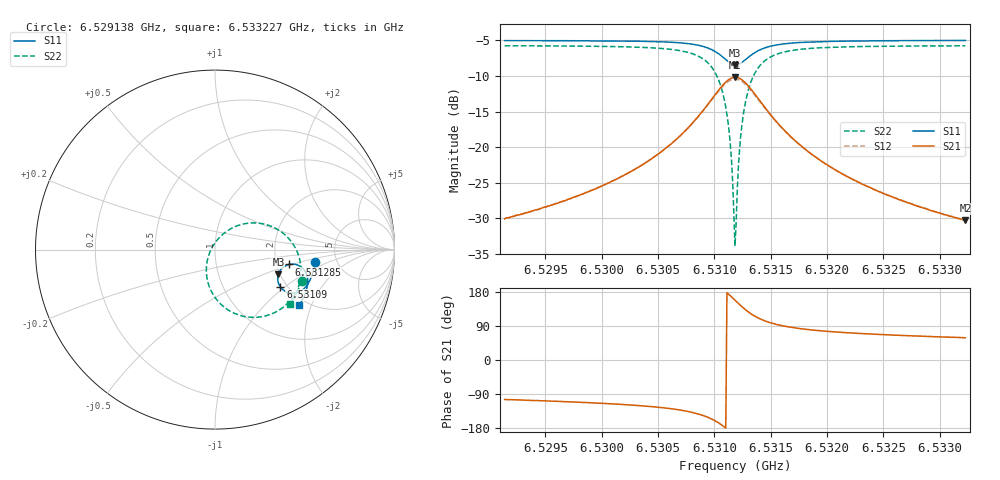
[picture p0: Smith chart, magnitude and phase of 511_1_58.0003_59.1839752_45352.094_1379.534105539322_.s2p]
#  HZ  S  RI  R  50.00
! Rohde & Schwarz Vector Network Analyzer
! Rohde-Schwarz,ZNB20-2Port,1311601062101988,3.16
! Created: UTC 3/21/2024, 1:13:11 AM
! freq[Hz]  re:S11  im:S11  re:S21  im:S21  re:S12  im:S12  re:S22  im:S22
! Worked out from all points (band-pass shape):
!   401 points, 6.529138 GHz to 6.533227 GHz, reference 50 ohm
!   highest |S21| = -10.18 dB at 6.531182 GHz (marker M1); lowest = -30.3 dB at 6.533227 GHz (marker M2)
!   |S21| within 3 dB of the highest: 6.530979 GHz to 6.531388 GHz (408.9 kHz wide, 0.00626 % of centre)
!   lowest |S11| = -8.4 dB at 6.531182 GHz (marker M3), VSWR 2.22, Z = 97.9 - j31.4 ohm
!   |S11| at or under -10 dB: nowhere
!   |S22| runs from -33.9 to -5.7 dB; largest |S21 - S12| = 0.012
!   S11 on the Smith chart (normalised r, x): 6.529138 GHz: 3.40, -0.69; 6.53109 GHz: 1.84, -0.93; 6.531285 GHz: 2.32, -0.47; 6.533227 GHz: 1.82, -1.64
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6.5291375e9  0.5566 -0.0692  -0.00763 -0.0304  -0.00832 -0.0303  0.4865 -0.1732
6.5298226e9  0.5454 -0.1261  -0.0173 -0.0433  -0.0184 -0.0429  0.4552 -0.2369
6.5305076e9  0.5161 -0.1941  -0.0517 -0.0738  -0.0537 -0.0727  0.373 -0.3267
6.5307427e9  0.4885 -0.2236  -0.0916 -0.0932  -0.0946 -0.0901  0.2915 -0.3666
6.5309166e9  0.4443 -0.2421  -0.1605 -0.0992  -0.1627 -0.0927  0.1647 -0.3728
6.5310188e9  0.3991 -0.236  -0.2302 -0.0719  -0.2294 -0.0625  0.0464 -0.3165
6.5310904e9  0.3644 -0.208  -0.2815 -0.0126  -0.2756 -0.00276  -0.031 -0.2083
6.5311313e9  0.3516 -0.1796  -0.2973 0.041  -0.2882 0.0487  -0.0484 -0.1168
6.5311415e9  0.3501 -0.1713  -0.2982 0.0559  -0.2885 0.063  -0.0474 -0.0919
6.5311722e9  0.3509 -0.1457  -0.2921 0.1018  -0.2813 0.1062  -0.0298 -0.0173
6.5311824e9  0.3532 -0.1373  -0.287 0.1169  -0.2759 0.1202  -0.019 0.00651
6.5311926e9  0.3562 -0.1292  -0.2805 0.1313  -0.2694 0.1336  -0.00598 0.029
6.5312028e9  0.3601 -0.1213  -0.2725 0.145  -0.2615 0.1462  0.00914 0.0499
6.5312233e9  0.37 -0.1074  -0.2531 0.1692  -0.2429 0.1688  0.0448 0.0865
6.5312437e9  0.3822 -0.0963  -0.2303 0.1885  -0.2212 0.1868  0.0853 0.1147
6.5312846e9  0.4097 -0.0829  -0.1805 0.2116  -0.1739 0.2083  0.1708 0.1452
6.5313562e9  0.4533 -0.0836  -0.1041 0.2132  -0.1009 0.2099  0.2995 0.1349
6.5314585e9  0.491 -0.1065  -0.0389 0.181  -0.0374 0.1793  0.406 0.0668
6.5316118e9  0.5123 -0.1433  0.000309 0.1337  0.00138 0.1329  0.4644 -0.0293
6.5318674e9  0.5168 -0.187  0.0167 0.087  0.0176 0.0867  0.479 -0.1277
6.5325525e9  0.4974 -0.2578  0.0184 0.0417  0.019 0.0414  0.4508 -0.2447
6.5332273e9  0.4706 -0.3082  0.0159 0.026  0.0164 0.0259  0.4161 -0.3051
